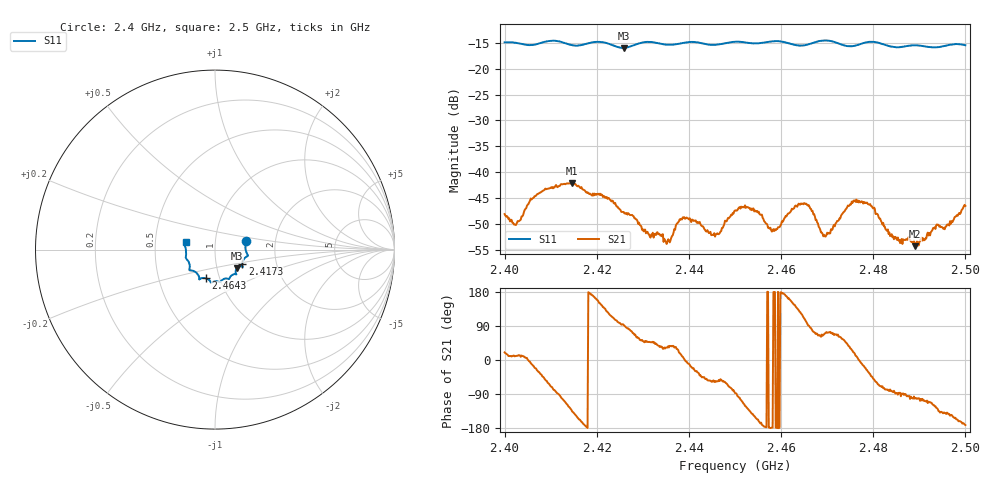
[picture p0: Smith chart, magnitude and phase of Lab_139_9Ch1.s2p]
# Hz S RI R 50
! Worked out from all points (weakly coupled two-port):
!   601 points, 2.4 GHz to 2.5 GHz, reference 50 ohm
!   highest |S21| = -42.14 dB at 2.4147 GHz (marker M1); lowest = -54.3 dB at 2.489 GHz (marker M2)
!   lowest |S11| = -15.9 dB at 2.4258 GHz (marker M3), VSWR 1.38, Z = 62.3 - j13.2 ohm
!   |S11| at or under -10 dB: start of sweep to end of sweep
!   S12 and S22 are empty: the file has one direction only
!   S11 on the Smith chart (normalised r, x): 2.4 GHz: 1.41, +0.14; 2.4173 GHz: 1.34, -0.23; 2.4643 GHz: 0.86, -0.28; 2.5 GHz: 0.72, +0.06
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2.4e9  0.1735 0.0489  0.00368 0.00135  0 0  0 0
2.4025e9  0.1745 0.0381  0.00303 0.000584  0 0  0 0
2.407e9  0.1734 -0.0106  0.00541 -0.00272  0 0  0 0
2.414667e9  0.1608 -0.0528  -0.00563 -0.00543  0 0  0 0
2.416667e9  0.1524 -0.075  -0.00685 -0.00207  0 0  0 0
2.417333e9  0.1518 -0.0823  -0.0066 -0.00099  0 0  0 0
2.425833e9  0.1214 -0.1036  -0.000188 0.00411  0 0  0 0
2.433333e9  0.1128 -0.1365  0.00196 0.00154  0 0  0 0
2.4355e9  0.0976 -0.1404  0.0018 0.00133  0 0  0 0
2.439167e9  0.0807 -0.1604  0.00353 -6.28e-05  0 0  0 0
2.446167e9  0.0461 -0.1654  0.00142 -0.00212  0 0  0 0
2.45e9  0.0296 -0.1807  0.000206 -0.00425  0 0  0 0
2.454333e9  0.0076 -0.1761  -0.00367 -0.00214  0 0  0 0
2.458333e9  -0.02 -0.1841  -0.0028 4.01e-05  0 0  0 0
2.464333e9  -0.0503 -0.1602  -0.00266 0.00419  0 0  0 0
2.466667e9  -0.0762 -0.1597  0.00068 0.00413  0 0  0 0
2.469667e9  -0.0875 -0.1667  0.000755 0.00225  0 0  0 0
2.4755e9  -0.1116 -0.1226  0.00459 0.00206  0 0  0 0
2.478167e9  -0.1366 -0.1161  0.0047 -0.00171  0 0  0 0
2.483333e9  -0.1404 -0.0896  0.000397 -0.00248  0 0  0 0
2.489e9  -0.1627 -0.0464  -0.0004 -0.00187  0 0  0 0
2.5e9  -0.1638 0.0416  -0.00466 -0.000674  0 0  0 0
